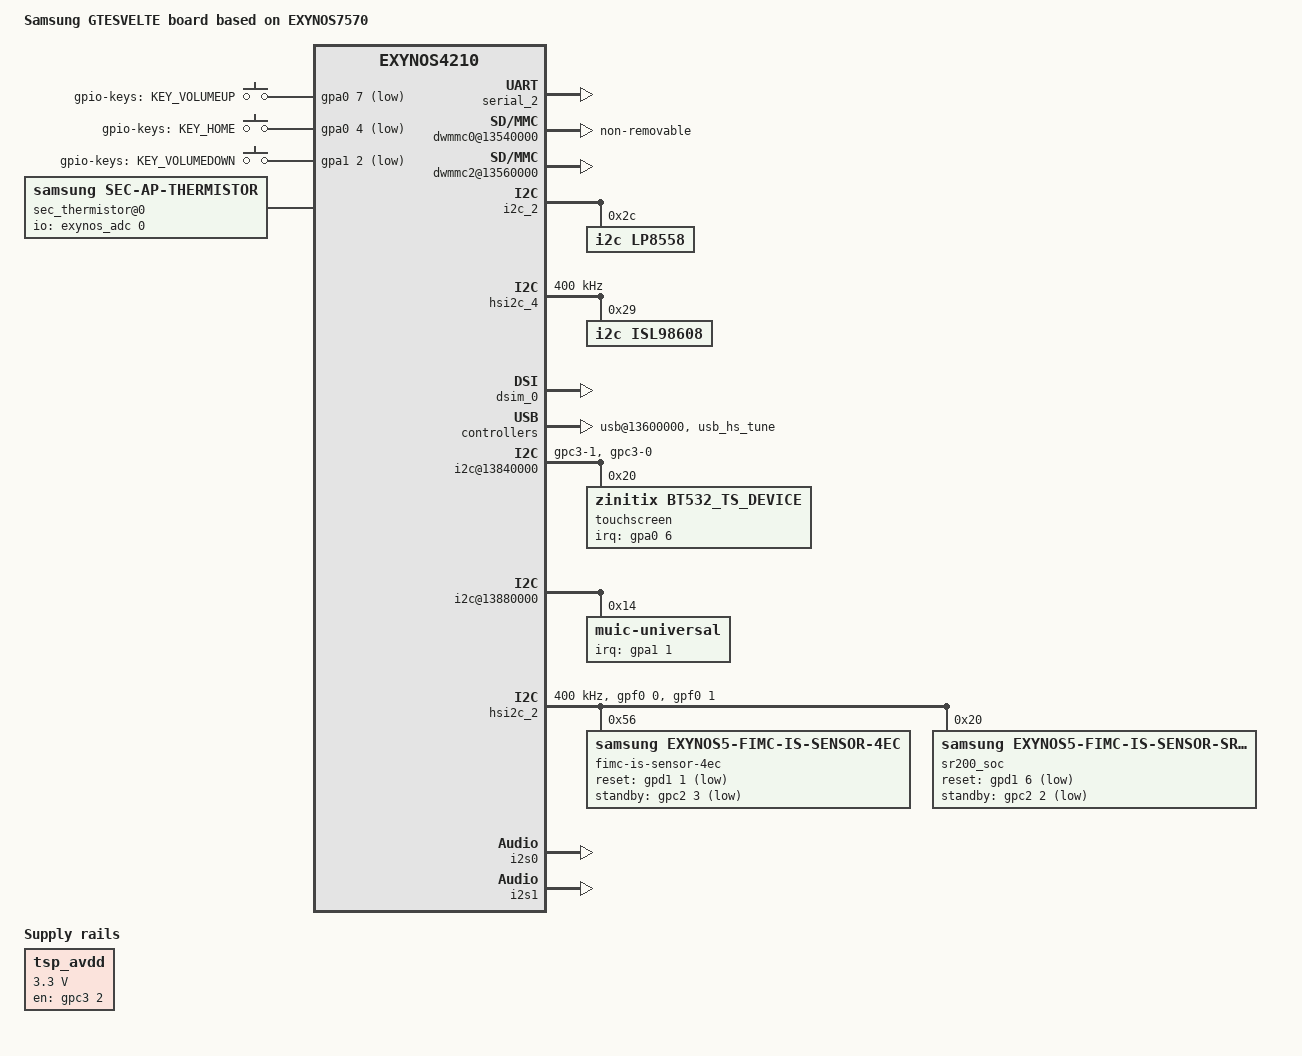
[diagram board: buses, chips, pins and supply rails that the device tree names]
/*
 * SAMSUNG UNIVERSAL7570 board device tree source
 *
 * Copyright (c) 2013 Samsung Electronics Co., Ltd.
 *		http://www.samsung.com
 *
 * This program is free software; you can redistribute it and/or modify
 * it under the terms of the GNU General Public License version 2 as
 * published by the Free Software Foundation.
*/

#include "exynos7570-rev01.dtsi"

/ {
	model = "Samsung GTESVELTE board based on EXYNOS7570";
	compatible = "samsung,exynos7570", "samsung,exynos4210";

	memory@40000000 {
		device_type = "memory";
		reg = <0x0 0x40000000 0x3E800000>;
	};

	memory@80000000 {
		device_type = "memory";
		reg = <0x0 0x80000000 0x20000000>;
	};

	chosen {
		bootargs = "console=ttySAC2,115200 clk_ignore_unused androidboot.hardware=samsungexynos7570 androidboot.selinux=disabled firmware_class.path=/vendor/firmware ess_setup=0x46000000 bcm_setup=0xffffff80f8e00000 androidboot.debug_level=0x4948 reserve-fimc=0";
		linux,initrd-start = <0x42000000>;
		linux,initrd-end = <0x421FFFFF>;
	};

	fixed-rate-clocks {
		oscclk {
			compatible = "samsung,exynos7570-oscclk";
			clock-frequency = <26000000>;
		};
	};

	serial_2: uart@13820000 {
		status = "okay";
	};

	firmware {
		android {
			compatible = "android,firmware";
			fstab {
				compatible = "android,fstab";
				system {
					compatible = "android,system";
					dev = "/dev/block/platform/13540000.dwmmc0/by-name/SYSTEM";
					type = "ext4";
					mnt_flags = "ro";
					fsmgr_flags = "wait,verify";
				};
			};
		};
	};
	dwmmc0@13540000 {
		status = "okay";
		num-slots = <1>;
		broken-card-detect;
		use-smu;
		fixed_voltage;
		supports-highspeed;
		clock-gate;
		mmc-ddr-1_8v;
		mmc-hs200-1_8v;
		mmc-hs400-1_8v;
		supports-8bit;
		supports-cmd23;
		supports-erase;
		enable-ulp-mode;
		supports-hs400-enhanced-strobe;
		pm-skip-mmc-resume-init;
		mmc_pwr_shut_down;
		card-init-hwacg-ctrl;
		fifo-depth = <0x40>;
		non-removable;
		desc-size = <4>;
		card-detect-delay = <200>;
		data-timeout = <200>;
		hto-timeout = <80>;
		clock-frequency = <700000000>;
		qos_int_level = <467000>;
		samsung,dw-mshc-ciu-div = <3>;
		samsung,dw-mshc-txdt-crc-timer-fastlimit = <0x34>;
		samsung,dw-mshc-txdt-crc-timer-initval = <0x38>;
		samsung,dw-mshc-ddr200-delay-line = <0x60>;
		samsung,dw-mshc-sdr-timing = <3 0 2 0>;
		samsung,dw-mshc-ddr-timing = <3 0 4 2>;
		samsung,dw-mshc-hs200-timing = <3 0 3 0>;
		samsung,dw-mshc-ddr200-timing = <1 0 4 0>;
		samsung,dw-mshc-ddr200-ulp-timing = <3 0 3 0>;

		num-ref-clks = <12>;
		ciu_clkin = <25 43 43 25 43 87 175 43 43 175 175 175>;

		/* Swapping clock drive strength */
		clk-drive-number = <4>;
		pinctrl-names = "default",
			"fast-slew-rate-1x",
			"fast-slew-rate-2x",
			"fast-slew-rate-3x",
			"fast-slew-rate-4x";
		pinctrl-0 = <&sd0_clk &sd0_cmd &sd0_rdqs &sd0_bus1 &sd0_bus4 &sd0_bus8>;
		pinctrl-1 = <&sd0_clk_fast_slew_rate_1x>;
		pinctrl-2 = <&sd0_clk_fast_slew_rate_2x>;
		pinctrl-3 = <&sd0_clk_fast_slew_rate_3x>;
		pinctrl-4 = <&sd0_clk_fast_slew_rate_4x>;
		slot@0 {
			reg = <0>;
			bus-width = <8>;
		};
	};

	dwmmc2@13560000 {
		status = "okay";
		num-slots = <1>;
		clock-gate;
		supports-highspeed;
		supports-4bit;
		supports-cmd23;
		supports-erase;
		sd-uhs-sdr50;
		sd-uhs-sdr104;
		card-detect-gpio;
		bypass-smu;
		only_once_tune;
		bypass-for-allpass;
		use-fine-tuning;
		skip-init-mmc-scan;
		card-init-hwacg-ctrl;
		switch_transfer;
		ignore-phase = <(1 << 7)>;
		fifo-depth = <0x40>;
		desc-size = <4>;
		card-detect-delay = <200>;
		data-timeout = <200>;
		hto-timeout = <80>;
		clock-frequency = <700000000>;
		samsung,dw-mshc-ciu-div = <3>;
		samsung,dw-mshc-sdr-timing = <3 0 2 0>;
		samsung,dw-mshc-ddr-timing = <3 0 2 1>;
		samsung,dw-mshc-sdr50-timing = <3 0 4 2>;
		samsung,dw-mshc-sdr104-timing = <3 0 3 0>;

		num-ref-clks = <9>;
		ciu_clkin = <25 43 43 25 43 87 175 43 43>;

		clk-drive-number = <4>;
		pinctrl-names = "default",
			"fast-slew-rate-1x",
			"fast-slew-rate-2x",
			"fast-slew-rate-3x",
			"fast-slew-rate-4x";
		pinctrl-0 = <&sd2_clk &sd2_cmd &sd2_bus1 &sd2_bus4 &dwmmc2_cd_ext_irq>;
		pinctrl-1 = <&sd2_clk_fast_slew_rate_1x>;
		pinctrl-2 = <&sd2_clk_fast_slew_rate_2x>;
		pinctrl-3 = <&sd2_clk_fast_slew_rate_3x>;
		pinctrl-4 = <&sd2_clk_fast_slew_rate_4x>;

		card-detect = <&gpa0 1 0xf>;
		sec-sd-slot-type = <1>; /* Normal SD slot */
		slot@0 {
			reg = <0>;
			bus-width = <4>;
			disable-wp;
		};
	};

	ion {
		compatible = "samsung,exynos5430-ion";
	};

	i2c_2: i2c@13890000 {
		samsung,i2c-max-bus-freq = <400000>;
		status = "okay";

		lp8558@2C {
			compatible = "i2c,lp8558";
			reg = <0x2C>;
		};
	};

	hsi2c_4: hsi2c@138B0000 {
		clock-frequency = <400000>;
		status = "okay";

		isl98608@29 {
			compatible = "i2c,isl98608";
			reg = <0x29>;
		};
	};

	decon_fb@14830000 {
		psr_mode = <0>; /* 0: video mode, 1: DP command mode, 2: MIPI command mode */
		/* vclk_mif = 200MHz */
		mif-vclk = <200000000>;
		/* vclk =  200MHz */
		disp-vclk = <200000000>;

		/* Target vclk 75.3Mhz */
		/* decon_divider_num = 1024 */
		vclk-num = <1024>;
		/* decon_divider_denom = 386 */
		vclk-denom = <417>;

		/* aclk = 208Mhz */
		disp-dvfs = <208000000>;
	};

	dsim_0: dsim@14800000 {
		lcd_info = <&s6d7aa0_wxga>;
		decon_board = <&decon_board>;
		status = "okay";

		/* number of data lanes in use */
		data_lane_cnt = <4>;
	};

	decon_board: decon_board {
		gpio_lcd_en = <&gpd1 0 0x1>;
		gpio_lcd_bl_en = <&gpc7 1 0x1>;
		gpio_lcd_rst = <&gpd2 0 0x1>;

		dsim_set_panel_power_enable {
			type =
			"regulator,enable",	"LCD_1P8",
			"delay,usleep",	"1000 1100",
			"gpio,high",	"gpio_lcd_en",
			"delay,usleep",	"5000 6000",
			"gpio,high",	"gpio_lcd_bl_en",
			"delay,usleep",	"1000 1100";
		};
		dsim_set_panel_power_disable {
			type =
			"delay,usleep",	"1000 1100",
			"gpio,low",	"gpio_lcd_rst",
			"delay,usleep",	"1000 1100",
			"gpio,low",	"gpio_lcd_bl_en",
			"delay,usleep",	"5000 6000",
			"gpio,low",	"gpio_lcd_en",
			"delay,usleep",	"5000 6000",
			"regulator,disable",	"LCD_1P8";
		};
		dsim_reset_panel {
			type =
			"gpio,high",	"gpio_lcd_rst",
			"delay,usleep",	"5000 6000",
			"gpio,low",	"gpio_lcd_rst",
			"delay,usleep",	"5000 6000",
			"gpio,high",	"gpio_lcd_rst",
			"delay,usleep",	"10000 11000";
		};
	};

	s6d7aa0_wxga: s6d7aa0_wxga {
		mode = <0>; /* 0: video mode, 1: DP command mode, 2: MIPI command mode */
		resolution = <800 1280>;
		size = <107 172>;
		ddi_type = <0>;
		timing,refresh = <60>;

		/* dsim H porch : hbp, hfp, hsa */
		timing,dsim_h-porch = <48 16 16>;
		/* dsim V porch : VBP, VFP, VSA */
		timing,dsim_v-porch = <6 8 2>;

		/* decon H porch : hbp, hfp, hsa */
		timing,decon_h-porch = <48 184 16>;
		/* decon V porch : VBP, VFP, VSA */
		timing,decon_v-porch = <6 8 2>;

		/* will modify */
		timing,dsi-hs-clk = <489>;
		timing,pms = <4 301 2>;
		timing,dsi-escape-clk = <16>;
	};

	usb@13600000 {
		status = "okay";

		dwc3 {
			dr_mode = "otg";
		};
	};

	usbphy@135c0000 {
		status = "okay";
		hs_tune_info = <&usb_hs_tune>;
		ss_tune_info = <&usb_ss_tune>;
	};

	usb_hs_tune:hs_tune {
		status = "okay";
		/* value = <device host> */
		tx_vref = <0x3 0x3>;
		tx_pre_emp = <0x0 0x0>;
		tx_pre_emp_puls = <0x0 0x0>;
		tx_res	= <0x2 0x2>;
		tx_rise = <0x1 0x1>;
		tx_hsxv = <0x0 0x0>;
		tx_fsls = <0x3 0x3>;
		rx_sqrx = <0x5 0x5>;
		compdis	= <0x3 0x3>;
		otg= <0x2 0x2>;
		/* true : 1, false: 0 */
		/* <enable_user_imp user_imp_value> */
		enable_user_imp = <0 0>;
		/* PHY clk : 1 , FREE clk : 0 */
		is_phyclock = <1>;
	};

	usb_ss_tune:ss_tune {
		status = "disabled";
		/* value = <device host> */
		tx_boost_level = <0x4 0x4>;
		tx_swing_level = <0x1 0x1>;
		tx_swing_full = <0x7F 0x7F>;
		tx_swing_low = <0x7F 0x7F>;
		tx_deemphasis_mode = <0x1 0x1>;
		tx_deemphasis_3p5db = <0x18 0x18>;
		tx_deemphasis_6db = <0x18 0x18>;
		enable_ssc = <0x1 0x1>;
		ssc_range = <0x0 0x1>;
		los_bias = <0x5 0x5>;
		los_mask_val = <0x104 0x104>;
		enable_fixed_rxeq_mode = <0x0 0x0>;
		fix_rxeq_value = <0x4 0x4>;
		set_crport_mpll_charge_pump = <0x0 0x0>;
		set_crport_level_en = <0x0 0x0>;
	};

	usb_notifier {
		compatible = "samsung,usb-notifier";
		udc = <&udc>;
	};

	tmuctrl_0: tmuctrl_CPUCL0@10130000 {
		compatible = "samsung,exynos7570-tmu";
		reg = <0x0 0x10130000 0x200>;
		interrupts = <0 435 0>;
		default_ptat_cont = <0x1>;
	};

	tmuctrl_1: tmuctrl_G3D@10130000 {
		compatible = "samsung,exynos7570-tmu";
		reg = <0x0 0x10130000 0x200>;
		interrupts = <0 435 0>;
		default_ptat_cont = <0x1>;

		/* gpu cooling related table */
		gpu_idx_num = <5>;
		/* flags, driver_data(index), frequency */
		gpu_cooling_table = < 0 0 830000
				      0 1 666000
				      0 2 553000
				      0 3 415000
				      0 4 TABLE_END>;
	};

	pinctrl@139F0000 {
		key_volup: key-volup {
			samsung,pins = "gpa0-7";
			samsung,pin-function = <0xf>;
			samsung,pin-pud = <3>;
			samsung,pin-drv = <0>;
		};

		key_voldown: key-voldown {
			samsung,pins = "gpa1-2";
			samsung,pin-function = <0xf>;
			samsung,pin-pud = <3>;
			samsung,pin-drv = <0>;
		};

		key_home: key-home {
			samsung,pins = "gpa0-4";
			samsung,pin-function = <0xf>;
			samsung,pin-pud = <3>;
			samsung,pin-drv = <0>;
		};

		if_irq: if-irq {
			samsung,pins = "gpa0-5";
			samsung,pin-pud = <3>;
			samsung,pin-drv = <3>;
		};

		muic_irq: muic-irq {
			samsung,pins = "gpa1-1";
			samsung,pin-pud = <0>;
			samsung,pin-drv = <0>;
		};

	};

	usi_1: usi@101D3000 {
		usi_mode = "hsi2c1";
		status = "okay";
	};

	gpio_keys {
		compatible = "gpio-keys";
		pinctrl-names = "default";
		pinctrl-0 = <&key_voldown &key_volup &key_home>;
		#address-cells = <1>;
		#size-cells = <0>;

		button@1 {
			label = "gpio-keys: KEY_VOLUMEUP";
			interrupts = <7 0 0>;
			interrupt-parent = <&gpa0>;
			linux,code = <115>;
			gpios = <&gpa0 7 0xf>;
		};
		button@2 {
			label = "gpio-keys: KEY_HOME";
			interrupts = <4 0 0>;
			interrupt-parent = <&gpa0>;
			linux,code = <172>;
			gpios = <&gpa0 4 0xf>;
			gpio-key,wakeup = <1>;
		};
		button@3 {
			label = "gpio-keys: KEY_VOLUMEDOWN";
			interrupts = <2 0 0>;
			interrupt-parent = <&gpa1>;
			linux,code = <114>;
			gpios = <&gpa1 2 0xf>;
		};
	};

	pinctrl@148C0000 {
		i2s_pmic_bus: i2s-pmic-bus {
			samsung,pins = "gpz1-0", "gpz1-2", "gpz1-3";
			samsung,pin-function = <2>;
			samsung,pin-pud = <1>;
			samsung,pin-drv = <0>;
		};

		i2s_pmic_bus_idle: i2s-pmic-bus-idle {
			samsung,pins = "gpz1-0", "gpz1-2", "gpz1-3";
			samsung,pin-function = <0>;
			samsung,pin-pud = <1>;
			samsung,pin-drv = <0>;
		};
	};

	pinctrl@139F0000 {
		tkey_irq: tkey-irq {
			samsung,pins = "gpa0-2";
			samsung,pin-function = <0xf>;
			samsung,pin-pud = <3>;
			samsung,pin-drv = <0>;
		};
		tkey_input: tkey-input {
			samsung,pins = "gpa0-2";
			samsung,pin-function = <0>;
			samsung,pin-pud = <0>;
			samsung,pin-drv = <0>;
		};
	};

	/* TSP */
	pinctrl@139F0000 {
		attn_input: attn-input {
			samsung,pins = "gpa0-6";
			samsung,pin-function = <0>;
			samsung,pin-pud = <0>;
			samsung,pin-drv = <0>;
		};
		attn_irq: attn-irq {
			samsung,pins = "gpa0-6";
			samsung,pin-function = <0xf>;
			samsung,pin-pud = <0>;
			samsung,pin-drv = <0>;
		};
	};

	pinctrl@139D0000 {
		attn_i2c: attn-i2c {
			samsung,pins = "gpc3-1", "gpc3-0";
			samsung,pin-function = <2>;
			samsung,pin-pud = <3>;
			samsung,pin-drv = <0>;
		};
		};

	tsp_en {
		compatible = "regulator-fixed";
		regulator-name = "tsp_avdd";
		regulator-min-microvolt = <3300000>;
		regulator-max-microvolt = <3300000>;
		gpio = <&gpc3 2 0>;
		enable-active-high;
		regulator-boot-on;
	};

	i2c@13840000 {
		samsung,i2c-sda-delay = <100>;
		samsung,i2c-max-bus-freq = <400000>;
		status = "okay";
		pinctrl-names = "default";
		pinctrl-0 = <&attn_i2c>;
		touchscreen@20 {
			compatible = "zinitix,bt532_ts_device";
			reg = <0x20>;
			pinctrl-names = "on_state", "off_state";
			pinctrl-0 = <&attn_irq>;
			pinctrl-1 = <&attn_input>;
			zinitix,irq_gpio = <&gpa0 6 0>;
			zinitix,gpio_ldo_en;
			zinitix,regulator_avdd = "tsp_avdd";
			zinitix,x_resolution = <800>;
			zinitix,y_resolution = <1280>;
			zinitix,page_size = <128>;
			zinitix,orientation = <0>;
			zinitix,chip_name = "ZT7548";
			zinitix,project_name = "GTES";
			zinitix,firmware_name = "tsp_zinitix/zt7548_gtesve.fw";
			zinitix,touchkey = "true";
			zinitix,regulator_tkled = "key_led_3P3";
		};
	};

	i2c@13880000 {
		status = "okay";

		muic-universal@14 {
			status = "okay";
			compatible = "muic-universal";
			reg = <0x14>;
			pinctrl-names = "default";
			pinctrl-0 = <&muic_irq>;
			muic-universal,chip_name = "sm,sm5504";
			muic-universal,irq-gpio = <&gpa1 1 0>;
		};
	};

	muic {
		status = "okay";
		muic,support-list = "+OTG:GND",
					"-MHL:1K",
					"-VZW Accessory:28.7K",
					"-VZW Incompatible:34K",
					"-Smartdock:40.2K",
					"-HMT:49.9K",
					"-Audiodock:64.9K",
					"+USB LANHUB:80.07K",
					"-Charging Cable:102K",
					"-Universal Multimedia dock:121K",
					"+Jig USB Off:255K",
					"+Jig USB On:301K",
					"+Deskdock:365K",
					"+TYPE2 Charger:442K",
					"+Jig UART Off:523K",
					"+Jig UART On:619K",
					"+TA:OPEN",
					"+USB:OPEN",
					"+CDP:OPEN",
					"+Undefined Charging:XXX";
		/*muic,otg_en = /bits/ 8 <0x1>;*/
	};

	fimc_is@14400000 {
		vender {
			rear_sensor_id = <57>; /* 4EC */
			front_sensor_id = <302>; /* SR200 */
			use_module_check;

			total_camera_num = <2>;
			camera_info0 {				// 0 : rear
				isp = <0>;			/* 0 : INT , 1 : EXT , 2 : SOC */
				cal_memory = <0>;		/* 0 : N , 1 : FROM , 2 : EEPROM , 3 : OTP  */
				read_version = <0>;		/* 0 : SYSFS , 1 : CAMON */

				core_voltage = <0>;		/* 0 : N , 1 : Y  */
				upgrade = <0>;			/* 0 : N , 1 : SYSFS , 2 : CAMON */
				companion = <0>;		/* 0 : N , 1 : Y  */
				ois = <0>;			/* 0 : N , 1 : Y  */
			};
			camera_info1 {				// 1 : front
				isp = <0>;			/* 0 : INT , 1 : EXT , 2 : SOC */
				cal_memory = <0>;		/* 0 : N , 1 : FROM , 2 : EEPROM , 3 : OTP  */
				read_version = <0>;		/* 0 : SYSFS , 1 : CAMON */

				core_voltage = <0>;		/* 0 : N , 1 : Y  */
				upgrade = <0>;			/* 0 : N , 1 : SYSFS , 2 : CAMON */
				companion = <0>;		/* 0 : N , 1 : Y  */
				ois = <0>;			/* 0 : N , 1 : Y  */
			};
		};

		fimc_is_dvfs {
			#define DVFS_INT_L0 467000
			#define DVFS_INT_L1 415000

			#define DVFS_CAM_L0 666000
			#define DVFS_CAM_L1 554000
			#define DVFS_CAM_L2 444000

			#define DVFS_MIF_L0 830000
			#define DVFS_MIF_L1 700000
			#define DVFS_MIF_L2 666000
			#define DVFS_MIF_L3 415000

			table0 {
				desc = "default Max version";

				default_int = <0>;
				default_cam = <DVFS_CAM_L1>;
				default_mif = <DVFS_MIF_L1>;
				default_i2c = <0>;

				ext_front_int = <0>;
				ext_front_cam = <DVFS_CAM_L1>;
				ext_front_mif = <DVFS_MIF_L2>;
				ext_front_i2c = <0>;

				ext_rear_int = <0>;
				ext_rear_cam = <DVFS_CAM_L0>;
				ext_rear_mif = <DVFS_MIF_L0>;
				ext_rear_i2c = <0>;

				max_int = <0>;
				max_cam = <DVFS_CAM_L0>;
				max_mif = <DVFS_MIF_L0>;
				max_i2c = <0>;
			};

			table1 {
				desc = "default Max version";

				default_int = <0>;
				default_cam = <DVFS_CAM_L1>;
				default_mif = <DVFS_MIF_L1>;
				default_i2c = <0>;

				ext_front_int = <0>;
				ext_front_cam = <DVFS_CAM_L1>;
				ext_front_mif = <DVFS_MIF_L2>;
				ext_front_i2c = <0>;

				ext_rear_int = <0>;
				ext_rear_cam = <DVFS_CAM_L0>;
				ext_rear_mif = <DVFS_MIF_L0>;
				ext_rear_i2c = <0>;

				max_int = <0>;
				max_cam = <DVFS_CAM_L0>;
				max_mif = <DVFS_MIF_L0>;
				max_i2c = <0>;
			};
		};
	};

	hsi2c_2: hsi2c@138A0000 {
		gpios = <&gpf0 0 0 &gpf0 1 0>;
		status = "okay";
		clock-frequency = <400000>;

		pinctrl-names = "default", "on_i2c";
		pinctrl-0 = <&hs_i2c2_bus>;
		pinctrl-1 = <&hs_i2c2_bus>;

		fimc-is-sensor-4ec@56 {
			compatible = "samsung,exynos5-fimc-is-sensor-4ec";
			reg = <0x56>;
			setfile = "default";
			pinctrl-names = "pin0", "pin1";
			pinctrl-0 = <&fimc_is_mclk0_fn>; /* rear on */
			pinctrl-1 = <&fimc_is_mclk0_in>; /* rear off */

			position = <0>; /* Rear:0. Front:1 */
			id = <0>; /* bns_id */
			mclk_ch = <0>;
			sensor_i2c_ch = <0>; /* I2C 0 */
			sensor_i2c_addr = <0x56>; /* need the i2c_addr modify */

			gpio_reset = <&gpd1 1 0x1>; /* sensor reset */
			gpio_standby = <&gpc2 3 0x1>; /* MAIN_CAM_STBY */
			status = "okay";
		};

		sr200_soc@20 {
			compatible = "samsung,exynos5-fimc-is-sensor-sr200-soc";
			reg = <0x20>;
			setfile = "default";
			pinctrl-names = "pin0", "pin1";
			pinctrl-0 = <&fimc_is_mclk1_fn>; /* front on */
			pinctrl-1 = <&fimc_is_mclk1_in>; /* front off */

			position = <1>; /* Rear:0. Front:1 */
			id = <1>; /* bns_id */
			mclk_ch = <0>;
			sensor_i2c_ch = <0>;
			sensor_i2c_addr = <0x20>; /* need the i2c_addr modify */

			gpio_reset = <&gpd1 6 0x1>;
			gpio_standby = <&gpc2 2 0x1>; /* VT_CAM_STBY */
			status = "okay";
		};

	};

	#define SENSOR_SCENARIO_NORMAL      0
	#define SENSOR_SCENARIO_VISION      1
	#define SENSOR_SCENARIO_EXTERNAL    2
	#define SENSOR_SCENARIO_OIS_FACTORY 3
	#define SENSOR_SCENARIO_VIRTUAL     9
	#define FLITE_ID_NOTHING 100

	fimc_is_sensor0: fimc_is_sensor0@14420000 {
		scenario = <SENSOR_SCENARIO_EXTERNAL>;    /* Normal, Vision, OIS etc */
		id = <0>;
		csi_ch = <0>;
		flite_ch = <0>;
		is_bns = <0>;
		status = "okay";
	};

	fimc_is_sensor1: fimc_is_sensor1@14420000 {
		scenario = <SENSOR_SCENARIO_EXTERNAL>;    /* Normal, Vision, OIS etc */
		id = <1>;
		csi_ch = <0>;
		flite_ch = <0>;
		is_bns = <0>;
		status = "okay";
	};

	exynos_rgt {
		compatible = "samsung,exynos-rgt";
	};

	but_zones: but_zones {
		#list-but-cells = <3>;
	};

	speedy@10510000 {
		status = "okay";

		audio_codec_cod9002x: cod9002x@03 {
			compatible = "codec,cod9002x";
			reg = <0x03>;
			i2c-speedy-address;
			vdd-supply = <&ldo13_reg>;
			pinctrl-names = "default";
			/*pinctrl-0 = <&cod9002_irq>;
			interrupt-parent = <&gpa0>;
			gpios = <&gpa0 3 0xf>;*/
			mic-bias1-voltage = <1>;
			mic-bias2-voltage = <1>;
			mic-bias-ldo-voltage = <3>;
			use-btn-adc-mode;
			dis-det-surge-mode;
			io-channels = <&exynos_adc 2>;
			io-channel-names = "adc-jack";
			#io-channel-cells = <1>;
			io-channel-ranges;
			but-zones-list = <&but_zones 226 0 210>,
				<&but_zones 582 211 290>,
				<&but_zones 115 291 490>,
				<&but_zones 114 491 1000>;
			mic-adc-range = <1350>;
			btn-press-delay = <50>;
		};

		s2mpu06mfd@00 {
			compatible = "samsung,s2mpu06mfd";
			reg = <0x00>;
			pinctrl-names = "default";
			pinctrl-0 = <&if_irq>;
			s2mpu06,wakeup = "enabled";
			s2mpu06,irq-gpio = <&gpa0 5 0>;

			i2c-speedy-address;
			cache_data = <1>;

			/* RTC: wtsr/smpl */
			wtsr_en = "enabled"; /* enable */
			smpl_en = "enabled"; /* enable */
			wtsr_timer_val = <3>;   /* 1000ms */
			smpl_timer_val = <0>;   /* 100ms */
			check_jigon = <0>; /* do not check jigon */
			/* RTC: If it's first boot, reset rtc to 1/1/2017 12:00:00(Sun) */
			init_time,sec = <0>;
			init_time,min = <0>;
			init_time,hour = <12>;
			init_time,mday = <1>;
			init_time,mon = <0>;
			init_time,year = <117>;
			init_time,wday = <0>;

			samsung,codec-interrupt = <&audio_codec_cod9002x>;
			s2mpu06-keys {
				button@1 {
					label = "pmic-keys: KEY_POWER";
					linux,code = <116>;
					wakeup = <1>;
				};
			};

			regulators {
				buck1_reg: BUCK1 {
					regulator-name = "BUCK1";
					regulator-min-microvolt = <500000>;
					regulator-max-microvolt = <1300000>;
					regulator-always-on;
					regulator-boot-on;
					regulator-ramp-delay = <12000>;
					regulator-initial-mode = <1>;
					regulator-expected-consumer = <6>;
				};

				buck2_reg: BUCK2 {
					regulator-name = "BUCK2";
					regulator-min-microvolt = <800000>;
					regulator-max-microvolt = <2800000>;
					regulator-always-on;
					regulator-boot-on;
					regulator-ramp-delay = <12000>;
					regulator-initial-mode = <3>;
				};

				buck3_reg: BUCK3 {
					regulator-name = "BUCK3";
					regulator-min-microvolt = <800000>;
					regulator-max-microvolt = <2800000>;
					regulator-always-on;
					regulator-boot-on;
					regulator-ramp-delay = <12000>;
					regulator-initial-mode = <3>;
				};

				ldo1_reg: LDO1 {
					regulator-name = "vdd_ldo1";
					regulator-min-microvolt = <500000>;
					regulator-max-microvolt = <1300000>;
					regulator-always-on;
					regulator-boot-on;
					regulator-ramp-delay = <12000>;
					regulator-initial-mode = <1>;
				};

				ldo2_reg: LDO2 {
					regulator-name = "vdd_ldo2";
					regulator-min-microvolt = <1500000>;
					regulator-max-microvolt = <2000000>;
					regulator-boot-on;
					regulator-always-on;
					regulator-ramp-delay = <12000>;
					regulator-initial-mode = <3>;
				};

				ldo3_reg: LDO3 {
					regulator-name = "vdd_ldo3";
					regulator-min-microvolt = <800000>;
					regulator-max-microvolt = <1500000>;
					regulator-boot-on;
					regulator-always-on;
					regulator-ramp-delay = <12000>;
					regulator-initial-mode = <3>;
				};

				ldo4_reg: LDO4 {
					regulator-name = "vqmmc";
					regulator-min-microvolt = <1700000>;
					regulator-max-microvolt = <3350000>;
					regulator-ramp-delay = <12000>;
					regulator-initial-mode = <0>;
				};

				ldo5_reg: LDO5 {
					regulator-name = "vdd_ldo5";
					regulator-min-microvolt = <1700000>;
					regulator-max-microvolt = <3350000>;
					regulator-boot-on;
					regulator-always-on;
					regulator-ramp-delay = <12000>;
					regulator-initial-mode = <3>;
				};

				ldo6_reg: LDO6 {
					regulator-name = "vdd_ldo6";
					regulator-min-microvolt = <500000>;
					regulator-max-microvolt = <1300000>;
					regulator-boot-on;
					regulator-always-on;
					regulator-ramp-delay = <12000>;
					regulator-initial-mode = <3>;
				};

				ldo7_reg: LDO7 {
					regulator-name = "vdd_ldo7";
					regulator-min-microvolt = <800000>;
					regulator-max-microvolt = <1300000>;
					regulator-boot-on;
					regulator-always-on;
					regulator-ramp-delay = <12000>;
					regulator-initial-mode = <1>;
				};

				ldo8_reg: LDO8 {
					regulator-name = "vdd_ldo8";
					regulator-min-microvolt = <1800000>;
					regulator-max-microvolt = <3375000>;
					regulator-boot-on;
					regulator-always-on;
					regulator-ramp-delay = <12000>;
					regulator-initial-mode = <1>;
				};

				ldo13_reg: LDO13 {
					regulator-name = "vdd_ldo13";
					regulator-min-microvolt = <800000>;
					regulator-max-microvolt = <2000000>;
					regulator-ramp-delay = <12000>;
					regulator-always-on;
					regulator-boot-on;
					regulator-initial-mode = <3>;
				};

				ldo14_reg: LDO14 {
					regulator-name = "vemmc";
					regulator-min-microvolt = <1800000>;
					regulator-max-microvolt = <3375000>;
					regulator-ramp-delay = <12000>;
					regulator-initial-mode = <0>;
				};

				ldo15_reg: LDO15 {
					regulator-name = "vqemmc";
					regulator-min-microvolt = <800000>;
					regulator-max-microvolt = <2000000>;
					regulator-ramp-delay = <12000>;
					regulator-initial-mode = <0>;
				};

				ldo16_reg: LDO16 {
					regulator-name = "VDD_MOTOR_3P3";
					regulator-min-microvolt = <3300000>;
					regulator-max-microvolt = <3300000>;
					regulator-ramp-delay = <12000>;
					regulator-initial-mode = <0>;
				};

				ldo17_reg: LDO17 {
					regulator-name = "VDD18_CAM_SENSOR_IO";
					regulator-min-microvolt = <1800000>;
					regulator-max-microvolt = <1800000>;
					regulator-ramp-delay = <12000>;
					regulator-initial-mode = <0>;
				};

				ldo18_reg: LDO18 {
					regulator-name = "VDD28_CAM_AF";
					regulator-min-microvolt = <2800000>;
					regulator-max-microvolt = <2800000>;
					regulator-ramp-delay = <12000>;
					regulator-initial-mode = <0>;
				};

				ldo19_reg: LDO19 {
					regulator-name = "key_led_3P3";
					regulator-min-microvolt = <3375000>;
					regulator-max-microvolt = <3375000>;
				};

				ldo20_reg: LDO20 {
					regulator-name = "LCD_1P8";
					regulator-min-microvolt = <1800000>;
					regulator-max-microvolt = <1800000>;
					regulator-boot-on;
					regulator-initial-mode = <3>;
				};

				ldo21_reg: LDO21 {
					regulator-name = "vdd_ldo21";
					regulator-min-microvolt = <3300000>;
					regulator-max-microvolt = <3300000>;
					regulator-ramp-delay = <12000>;
					regulator-initial-mode = <0>;
				};

				ldo22_reg: LDO22 {
					regulator-name = "GRIP_2P8";
					regulator-min-microvolt = <2800000>;
					regulator-max-microvolt = <2800000>;
					regulator-boot-on;
					regulator-always-on;
					regulator-ramp-delay = <12000>;
					regulator-initial-mode = <3>;
				};

				ldo23_reg: LDO23 {
					regulator-name = "VDD23_CAM_CORE_1P2";
					regulator-min-microvolt = <1200000>;
					regulator-max-microvolt = <1200000>;
					regulator-ramp-delay = <12000>;
					regulator-initial-mode = <0>;
				};

				ldo24_reg: LDO24 {
					regulator-name = "AVDD24_CAM_2P8";
					regulator-min-microvolt = <2800000>;
					regulator-max-microvolt = <2800000>;
					regulator-ramp-delay = <12000>;
					regulator-initial-mode = <0>;
				};
			};
		};

		fimc_is_flash@06 {
			compatible = "samsung,sensor-flash-i2c";
			reg = <0x06>;
			id = <0>;
			flash-gpio = <&gpa0 0 0>;
			flash_current = <1000>;
			preflash_current = <160>;
			movie_current = <160>;
			torch_current = <80>;
			factory_current = <160>;
			i2c-speedy-address;
		};
	};

	exynos-pm {
		compatible = "samsung,exynos-pm";
		reg = <0x0 0x139F0000 0x1000>,
		      <0x0 0x104E1200 0x100>;
		reg-names = "gpio_alive_base",
			    "gicd_ispendrn_base";
		num-eint = <24>;
		num-gic = <16>;
		suspend_mode_idx = <8>;		/* SYS_SLEEP */
		suspend_psci_idx = <131>;	/* PSCI_SYSTEM_SLEEP */
		cp_call_mode_idx = <4>;		/* SYS_LPD */
		cp_call_psci_idx = <132>;	/* PSCI_SYSTEM_CP_CALL */
	};

	acpm: acpm@11C88000 {
		compatible = "samsung,exynos-acpm";
		#address-cells = <2>;
		#size-cells = <1>;
		reg = <0x0 0x11C88000 0x1000>;

		log_base = <0x02047700>;
		time_len = <32>;
		log_buff_size = <16>;
		log_buff_len = <380>;
		debug_logging_level = <0>;
		logging_period = <500>;

		dump_base = <0x02046000>;
		dump_size = <0x3800>;

		plugins {
			framework {
				attach = <2>;
				id = <0>;
				acpm-ipc-channel = <&framework_ch>;
			};
		};
	};

	acpm_ipc: acpm_ipc@11C00000 {
		compatible = "samsung,exynos-acpm-ipc";
		#address-cells = <2>;
		#size-cells = <1>;

		interrupts = <0 22 0>;
		reg = <0x0 0x11C00000 0x1000>;

		channels {
			polling = <1>;
			max_buff_size = <0x300>;
			framework_ch: framework@0x02047400 {
				channel_id = <0>;
				rx_buff = <0x02047400>;
				tx_buff = <0x02047480>;
				buff_size = <12>;
				buff_len = <8>;
				direction_buff = <412>;
			};
		};
	};

	s1403x: s1403x@14880000 {
		pinctrl-names = "default", "idle";
		pinctrl-0 = <&i2s_pmic_bus
			&i2s_codec_clk>;
		pinctrl-1 = <&i2s_pmic_bus_idle>;
		bck-mcko-mode;
		status = "okay";
	};

	i2s_dummy: dummy-i2s {
		compatible = "samsung,dummy-i2s";
		status = "okay";
	};

	i2s0: i2s@148A0000 {
		status = "okay";
	};

	i2s1: i2s@148B0000 {
		status = "okay";
	};

	audio_cp_dummy: cp_dummy {
		compatible = "samsung,cp_dummy";
		status = "okay";
	};

	audio_fm_dummy: fm_dummy {
		compatible = "samsung,fm_dummy";
		status = "okay";
	};

	audio_bt_dummy: bt_dummy {
		compatible = "samsung,bt_dummy";
		status = "okay";
	};

	audio_codec_dummy: dummy-codec {
		compatible = "samsung,dummy-codec";
		status = "okay";
	};

	sound {
		compatible = "samsung,universal7570-cod9002x";
		samsung,audio-cpu = <&i2s0 /* primary */
			&i2s0              /* secondary */
			&audio_cp_dummy
			&audio_bt_dummy
			&audio_fm_dummy
			&i2s1             /*AMP for AP */
			&audio_cp_dummy   /*AMP for CP */
			&eax
			&eax
			&eax
			&eax>;
		samsung,audio-codec = <&audio_codec_cod9002x
			&audio_codec_cod9002x
			&audio_codec_cod9002x
			&audio_codec_dummy
			&audio_codec_cod9002x
			&audio_codec_dummy
			&audio_codec_dummy
			&audio_codec_cod9002x
			&audio_codec_cod9002x
			&audio_codec_cod9002x
			&audio_codec_cod9002x>;

		samsung,auxdev = <&s1403x>;
		mic-bias-mode = <1 1 2 0>;
		status = "okay";
	};

	sec_thermistor@0 {
		compatible = "samsung,sec-ap-thermistor";
		status = "okay";

		adc_array = <285 295 305 314 324 334 343 352 360 369
				378 391 405 418 432 445 461 476 492 507
				523 542 561 579 598 617 631 645 659 673
				687 711 735 758 782 806 843 880 918 955
				992 1024 1056 1089 1121 1153 1191 1229 1267 1305
				1343 1384 1425 1466 1507 1548 1592 1636 1679 1723
				1767 1797 1827 1858 1888 1918 1964 2009 2055 2100
				2146 2211 2277 2342 2408 2473 2519 2566 2612 2659
				2705 2749 2793 2836 2880 2924 3028 3052 3075 3099
				3123 3156 3190 3223 3257 3290 3320 3350 3381 3411
				3441 3468 3495 3523 3550 3577 3596 3616 3635 3655
				3674>;
		temp_array = <900 890 880 870 860 850 840 830 820 810
				800 790 780 770 760 750 740 730 720 710
				700 690 680 670 660 650 640 630 620 610
				600 590 580 570 560 550 540 530 520 510
				500 490 480 470 460 450 440 430 420 410
				400 390 380 370 360 350 340 330 320 310
				300 290 280 270 260 250 240 230 220 210
				200 190 180 170 160 150 140 130 120 110
				100 90 80 70 60 50 40 30 20 10
				0 (-10) (-20) (-30) (-40) (-50) (-60) (-70) (-80) (-90)
				(-100) (-110) (-120) (-130) (-140) (-150) (-160) (-170) (-180) (-190)
				(-200)>;
		io-channels = <&exynos_adc 0>;
		io-channel-names = "adc-ap-temp";
		io-channel-ranges;
	};

	argos {
		compatible = "samsung,argos";
		#address-cells = <1>;
		/*  The device number should be assigned for each device, e.g. "boot_device@1" and "boot_device@2".
		    Duplicated number is not allowed. Please refer the below example. */

		/* Table Format should be
		 * <Throughput(Mbps) CPU_min CPU_max MIF INT Task IRQ>
		 * CPU_min : CPU minimum frequency lock. 0 means not set,
		 * CPU_max : CPU maximum frequency lock. 0 means not set,
		 * MIF : MIF frequency lock. 0 means not set,
		 * INT : INT frequency lock. 0 means not set,
		 * Task : 1 - Set task affinity lock.
		 *        0 - Not set or unlock,
		 *              Task affinity should be predefined driver's code.
		 * IRQ : 1 - Set irq affinity lock.
		 *       0 - Not set or unlock,
		 *              Task affinity should be predefined driver's code.
		 */

		boot_device@1 {
			net_boost,label="IPC";
			net_boost,node="rmnet0 rmnet1 rmnet2 rmnet3 rmnet4 rmnet5 rmnet6 rmnet7 umts_dm0";
			net_boost,table_size = <4>;
			net_boost,table= <  1 0 0 0 0 0 1
					   20 829000 0 416000 100000 0 1
					   50 1040000 0 825000 100000 0 1
					  100 1430000 0 825000 100000 0 1>;
		};

		boot_device@2 {
			net_boost,label="USB";
			net_boost,node="rndis0";
			net_boost,table_size = <1>;
			net_boost,table= < 1 0 0 0 0 0 1 >;
		};

		boot_device@3 {
			net_boost,label="P2P";
			net_boost,node="p2p-wlan0-0";
			net_boost,table_size = <3>;
			net_boost,table= <
				30 1274000 0 415000 0 0 0
				50 1378000 0 415000 0 0 0
				90 1378000 0 666000 0 1 1
				>;
		};
		boot_device@4 {
			net_boost,label="WIFI";
			net_boost,node="wlan0";
			net_boost,table_size = <3>;
			net_boost,table= <
				10 1040000 0 415000 0 0 0
				60 1378000 0 666000 0 1 1
				120 1378000 0 666000 0 1 1
				>;
		 };
		/*
		boot_device@5 {
			net_boost,label="CLAT";
			net_boost,node="clat clat4 v4-rmnet0 v4-rmnet1 v4-rmnet2 v4-rmnet3 v4-rmnet4 v4-rmnet5 v4-rmnet6 v4-rmnet7";
			net_boost,table_size = <3>;
			net_boost,table= <120 0 0 825000 0 0 0
				130 0 0 825000 0 0 0
				150 0 0 825000 0 0 0>;
		};
		*/
	};

	sec_vib {
		compatible = "sec_vib";
		sec_vib_pdata {
			status = "okay";
			sec_vib,max_timeout = <10000>;
			sec_vib,ldo_type = <0>;		/* 0: pmic ldo, 1: external ldo */
			sec_vib,regulator = "VDD_MOTOR_3P3";
		};
	};

	input_booster {
		status = "okay";
		compatible = "input_booster";
		#address-cells = <1>;
		#size-cells = <0>;

		booster_key@1 {
			input_booster,label = "KEY";
			input_booster,type = <0>;	/* BOOSTER_DEVICE_KEY */

			input_booster,levels = <1>;

			/* Frequency table */
			/* for level	:	1_Head */
			input_booster,cpu_freqs = <1274000>;
			input_booster,hmp_boost = <0>;
			input_booster,kfc_freqs = <1274000>;
			input_booster,mif_freqs = <0>;
			input_booster,int_freqs = <0>;

			/* Time table */
			input_booster,head_times = <500>;
			input_booster,tail_times = <500>;
			input_booster,phase_times = <0>;
		};
		booster_key@2 {
			input_booster,label = "TOUCHKEY";
			input_booster,type = <1>;	/* BOOSTER_DEVICE_TOUCHKEY */

			input_booster,levels = <1>;

			/* Frequency table */
			/* for level	:	1_Head */
			input_booster,cpu_freqs = <1274000>;
			input_booster,hmp_boost = <0>;
			input_booster,kfc_freqs = <1274000>;
			input_booster,mif_freqs = <0>;
			input_booster,int_freqs = <0>;

			/* Time table */
			input_booster,head_times = <0>;
			input_booster,tail_times = <300>;
			input_booster,phase_times = <0>;
		};
		booster_key@3 {
			input_booster,label = "TOUCH";
			input_booster,type = <2>;	/* BOOSTER_DEVICE_TOUCH */

			input_booster,levels = <1 2 3>;

			/* Frequency table */
			/* for level	:	1_Head, 2_Head, 2_Tail */
			input_booster,cpu_freqs = <1274000 1274000 962000>;
			input_booster,hmp_boost = <0 0 0>;
			input_booster,kfc_freqs = <1274000 1274000 962000>;
			input_booster,mif_freqs = <0 0 0>;
			input_booster,int_freqs = <0 0 0>;

			/* Time table */
			input_booster,head_times = <200 200 0>;
			input_booster,tail_times = <0 0 300>;
			input_booster,phase_times = <0 0 0>;
		};
		booster_key@4 { // Input Booster +
			input_booster,label = "MULTITOUCH";
			input_booster,type = <3>;	/* BOOSTER_DEVICE_MULTITOUCH */

			input_booster,levels = <1 2>;

			/* Frequency table */
			/* for level	:	1_Head 2_Tail*/
			input_booster,cpu_freqs = <1378000 1040000>;
			input_booster,hmp_boost = <0 0>;
			input_booster,kfc_freqs = <1378000 1040000>;
			input_booster,mif_freqs = <0 0>;
			input_booster,int_freqs = <0 0>;

			/* Time table */
			input_booster,head_times = <1000 0>;
			input_booster,tail_times = <0 500>;
			input_booster,phase_times = <0 0>;
		};
		booster_key@5 {
			input_booster,label = "KEYBOARD";
			input_booster,type = <4>;	/* BOOSTER_DEVICE_KEYBOARD */

			input_booster,levels = <1 2>;

			/* Frequency table */
			/* for level	:	1_Head 2_Tail*/
			input_booster,cpu_freqs = <1274000 1274000>;
			input_booster,hmp_boost = <0 0>;
			input_booster,kfc_freqs = <1274000 1274000>;
			input_booster,mif_freqs = <0 0>;
			input_booster,int_freqs = <0 0>;

			/* Time table */
			input_booster,head_times = <200 200>;
			input_booster,tail_times = <0 0>;
			input_booster,phase_times = <0 0>;
		};
		booster_key@6 {
			input_booster,label = "MOUSE";
			input_booster,type = <5>;	/* BOOSTER_DEVICE_MOUSE */

			input_booster,levels = <1 2>;

			/* Frequency table */
			/* for level	:	1_Head 2_Tail*/
			input_booster,cpu_freqs = <1274000 962000>;
			input_booster,hmp_boost = <0 0>;
			input_booster,kfc_freqs = <1274000 962000>;
			input_booster,mif_freqs = <0 0>;
			input_booster,int_freqs = <0 0>;

			/* Time table */
			input_booster,head_times = <200 0>;
			input_booster,tail_times = <0 300>;
			input_booster,phase_times = <0 0>;
		};
		booster_key@7 {
			input_booster,label = "MOUSE WHEEL";
			input_booster,type = <6>;	/* BOOSTER_DEVICE_MOUSE */

			input_booster,levels = <1 2>;

			/* Frequency table */
			/* for level	:	1_Head 2_Tail*/
			input_booster,cpu_freqs = <1274000 0>;
			input_booster,hmp_boost = <0 0>;
			input_booster,kfc_freqs = <1274000 0>;
			input_booster,mif_freqs = <0 0>;
			input_booster,int_freqs = <0 0>;

			/* Time table */
			input_booster,head_times = <200 0>;
			input_booster,tail_times = <0 0>;
			input_booster,phase_times = <0 0>;
		};
		booster_key@8 {
			input_booster,label = "PEN & HOVER";
			input_booster,type = <7>;	/* BOOSTER_DEVICE_PEN & HOVER */

			input_booster,levels = <1 2>;

			/* Frequency table */
			/* for level	:	1_Head 2_Tail*/
			input_booster,cpu_freqs = <1274000 962000>;
			input_booster,hmp_boost = <0 0>;
			input_booster,kfc_freqs = <1274000 962000>;
			input_booster,mif_freqs = <0 0>;
			input_booster,int_freqs = <0 0>;

			/* Time table */
			input_booster,head_times = <200 0>;
			input_booster,tail_times = <0 300>;
			input_booster,phase_times = <0 0>;
		};
		booster_key@9 {
			input_booster,label = "GAMEPAD";
			input_booster,type = <8>;	/* BOOSTER_DEVICE_GAMEPAD */

			input_booster,levels = <1 2>;

			/* Frequency table */
			/* for level	:	1_Head 2_Tail*/
			input_booster,cpu_freqs = <1378000 829000>;
			input_booster,hmp_boost = <0 0>;
			input_booster,kfc_freqs = <1378000 829000>;
			input_booster,mif_freqs = <0 0>;
			input_booster,int_freqs = <0 0>;

			/* Time table */
			input_booster,head_times = <200 0>;
			input_booster,tail_times = <0 300>;
			input_booster,phase_times = <0 0>;
		}; // Input Booster -
		/* If you need to add new key type, add it this position */
	};
};
